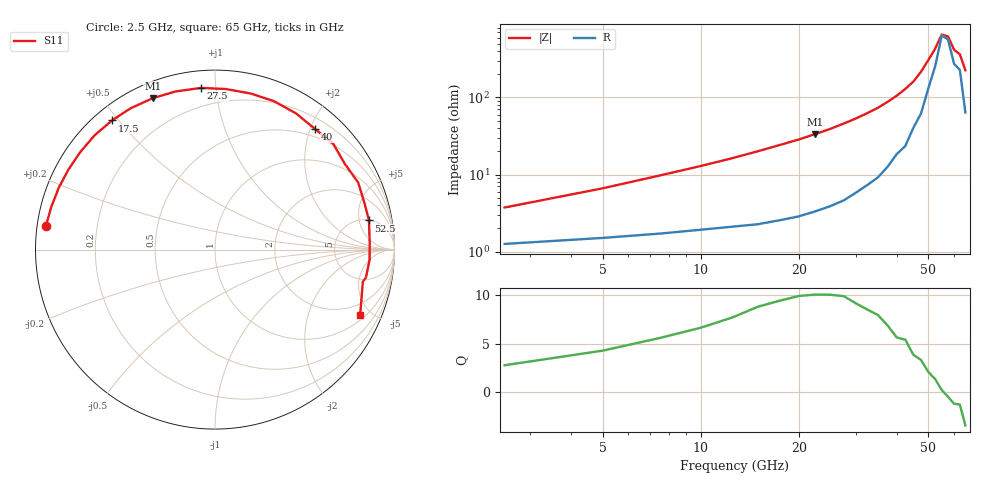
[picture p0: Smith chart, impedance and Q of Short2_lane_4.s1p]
! File created by SignalIntegrity v1.5.1: Signal and Power Integrity Tools
! https://github.com/Nubis-Communications/SignalIntegrity
# MHz S MA R 50.0
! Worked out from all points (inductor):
!   26 points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, 2.5 GHz to 65 GHz, reference 50 ohm
!   read as one part to ground: L = 199 pH near 5 GHz
!   highest Q = 10 at 22.5 GHz (marker M1), where L = 236 pH
!   self-resonance near 55.97 GHz
!   S11 on the Smith chart (normalised r, x): 2.5 GHz: 0.03, +0.07; 17.5 GHz: 0.05, +0.48; 27.5 GHz: 0.09, +0.91; 40 GHz: 0.37, +2.08; 52.5 GHz: 5.09, +6.97; 65 GHz: 1.28, -4.32
2500  0.9513 172.0
5000  0.9426 165.3
7500  0.9361 158.3
10000  0.9305 151.4
12500  0.9267 144.1
15000  0.9248 136.5
17500  0.9204 128.6
20000  0.917 120.8
22500  0.9122 112.3
25000  0.9079 104.0
27500  0.9043 95.0
30000  0.8967 86.1
32500  0.892 77.1
35000  0.89 68.3
37500  0.8829 59.2
40000  0.873 50.3
42500  0.8843 41.9
45000  0.8668 33.6
47500  0.8809 25.1
50000  0.8721 16.9
52500  0.873 10.7
55000  0.8627 2.1
57500  0.863 -3.8
60000  0.8553 -10.4
62500  0.8431 -12.3
65000  0.8865 -24.1
